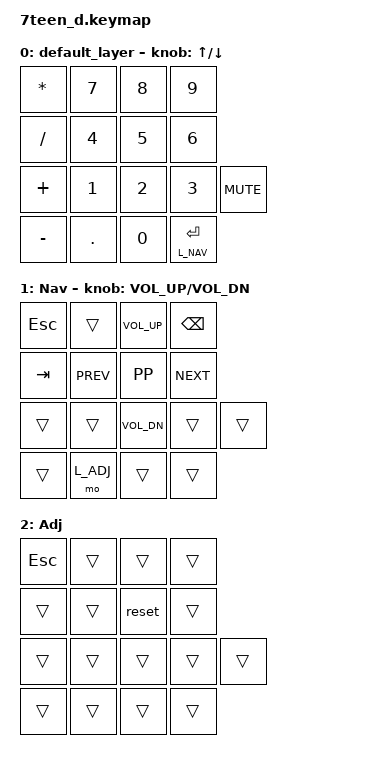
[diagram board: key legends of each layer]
/*
 * Copyright (c) 2020 The ZMK Contributors
 *
 * SPDX-License-Identifier: MIT
 */

#include <behaviors.dtsi>
#include <dt-bindings/zmk/keys.h>

#define L_DEF 0
#define L_NAV 1
#define L_ADJ 2

/ {
    keymap {
        compatible = "zmk,keymap";

        default_layer {
            bindings = <
    &kp ASTRK &kp N7 &kp N8 &kp N9
    &kp SLASH &kp N4 &kp N5 &kp N6
    &kp PLUS  &kp N1 &kp N2 &kp N3 &kp K_MUTE
    &kp MINUS &kp DOT   &kp N0 &lt L_NAV ENTER
            >;

sensor-bindings = <&inc_dec_kp UP DOWN>;
        };

        nav_layer {
            label = "Nav";
            bindings = <
    &kp ESC  &trans     &kp K_VOL_UP &kp BSPC
    &kp TAB  &kp K_PREV &kp K_PP     &kp K_NEXT
    &trans   &trans     &kp K_VOL_DN &trans &trans
    &trans   &mo L_ADJ  &trans       &trans
            >;
sensor-bindings = <&inc_dec_kp C_VOL_UP C_VOL_DN>;
        };

        adj_layer {
            label = "Adj";
            bindings = <
    &kp ESC &trans  &trans  &trans
    &trans  &trans  &reset  &trans
    &trans  &trans  &trans  &trans  &trans
    &trans  &trans  &trans  &trans
            >;
        };
    };
};
